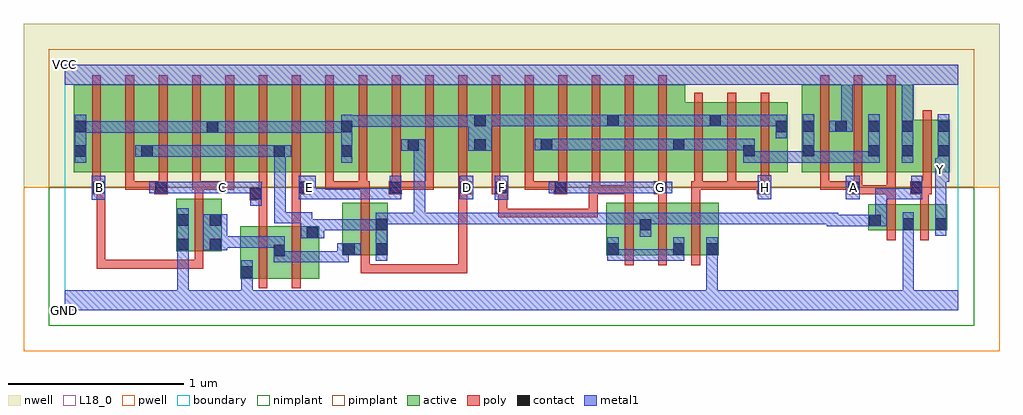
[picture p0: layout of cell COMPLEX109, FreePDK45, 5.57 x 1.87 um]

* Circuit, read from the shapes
.subckt COMPLEX109 A B C D E F G GND H VCC Y
M1 n1 B GND VSUBS nfet w=0.3u l=0.05u
M2 n1 C GND VSUBS nfet w=0.3u l=0.05u
M3 n2 E n1 VSUBS nfet w=0.3u l=0.05u
M4 n2 D n1 VSUBS nfet w=0.3u l=0.05u
M5 n2 F n3 VSUBS nfet w=0.3u l=0.05u
M6 n3 G n2 VSUBS nfet w=0.3u l=0.05u
M7 GND H n3 VSUBS nfet w=0.3u l=0.05u
M8 GND A n2 VSUBS nfet w=0.15u l=0.05u
M9 Y n2 GND VSUBS nfet w=0.15u l=0.05u
M10 n4 B n5 n6 pfet w=0.5u l=0.05u
M11 n2 C n4 n6 pfet w=0.5u l=0.05u
M12 n7 C n2 n6 pfet w=0.5u l=0.05u
M13 n5 B n7 n6 pfet w=0.5u l=0.05u
M14 n8 B n5 n6 pfet w=0.5u l=0.05u
M15 n2 C n8 n6 pfet w=0.5u l=0.05u
M16 n9 E n2 n6 pfet w=0.5u l=0.05u
M17 n5 D n9 n6 pfet w=0.5u l=0.05u
M18 n10 D n5 n6 pfet w=0.5u l=0.05u
M19 n2 E n10 n6 pfet w=0.5u l=0.05u
M20 n11 E n2 n6 pfet w=0.5u l=0.05u
M21 n5 D n11 n6 pfet w=0.5u l=0.05u
M22 n12 F n5 n6 pfet w=0.5u l=0.05u
M23 n13 G n12 n6 pfet w=0.5u l=0.05u
M24 n14 G n13 n6 pfet w=0.5u l=0.05u
M25 n5 F n14 n6 pfet w=0.5u l=0.05u
M26 n15 F n5 n6 pfet w=0.5u l=0.05u
M27 n13 G n15 n6 pfet w=0.5u l=0.05u
M28 n5 H n13 n6 pfet w=0.4u l=0.05u m=3
M29 VCC A n13 n6 pfet w=0.5u l=0.05u m=3
M30 Y n2 VCC n6 pfet w=0.3u l=0.05u
.ends

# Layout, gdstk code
import gdstk
lib = gdstk.Library(unit=1e-6, precision=1e-09)
def R(c, l, rs):  # rectangles x0, y0, x1, y1
    for r in rs: c.add(gdstk.rectangle(r[:2], r[2:], *l))
def A(c, l, x, y, w, h, nx, ny, dx, dy):  # array of equal rectangles
    R(c, l, [(x+i*dx, y+j*dy, x+i*dx+w, y+j*dy+h) for i in range(nx) for j in range(ny)])
active = (1, 0)
pwell = (2, 0)
nwell = (3, 0)
nimplant = (4, 0)
pimplant = (5, 0)
poly = (9, 0)
contact = (10, 0)
metal1 = (11, 0)
L18_0 = (18, 0)
boundary = (235, 0)

complex109 = lib.new_cell('COMPLEX109')
A(complex109, active, 1.417, 0.787, 0.23, 0.5, 5, 1, 0.38, 0)
A(complex109, active, 1.572, 0.787, 0.225, 0.5, 5, 1, 0.38, 0)
A(complex109, active, 1.572, 0.807, 0.075, 0.393, 3, 1, 0.76, 0)
R(complex109, active, [(1.002,0.18,1.077,0.48), (1.002,0.18,1.262,0.48), (1.187,0.18,1.452,0.48), (1.187,0.2,1.262,0.48), (1.585,0.312,1.66,0.612), (1.585,0.312,1.845,0.612), (1.77,0.312,1.845,0.612), (3.092,0.312,3.167,0.612), (3.092,0.312,3.352,0.612), (3.277,0.312,3.542,0.612), (3.467,0.312,3.732,0.612), (3.467,0.312,3.542,0.497), (3.657,0.312,3.732,0.612), (1.377,0.33,1.452,0.48), (3.277,0.33,3.352,0.525), (0.637,0.337,0.712,0.637), (0.637,0.337,0.897,0.637), (0.822,0.337,0.897,0.637), (4.587,0.455,4.852,0.605), (4.777,0.455,5.037,0.605), (4.777,0.455,4.852,0.53), (4.962,0.455,5.037,0.605), (4.587,0.475,4.662,0.605), (0.052,0.787,0.277,1.287), (0.052,0.787,0.157,1.2), (0.277,0.787,0.507,1.287), (0.432,0.787,0.657,1.287), (0.657,0.787,0.882,1.287), (0.807,0.787,1.037,1.287), (1.037,0.787,1.262,1.287), (1.187,0.787,1.417,1.287), (1.952,0.787,2.027,1.07), (3.317,0.787,3.542,1.287), (3.467,0.787,3.542,1.07), (3.467,0.787,3.75,1.187), (3.675,0.787,3.942,1.187), (3.867,0.787,4.127,1.187), (3.867,0.787,3.942,1.07), (4.052,0.787,4.127,1.187), (4.207,0.787,4.467,1.287), (4.207,0.787,4.282,1.2), (4.392,0.787,4.657,1.287), (4.582,0.787,4.847,1.287), (4.772,0.787,4.847,1.087), (4.772,0.787,5.052,1.087), (4.977,0.787,5.052,1.087), (0.432,0.807,0.507,1.07), (0.807,0.807,0.882,1.2), (1.187,0.807,1.262,1.07), (2.712,0.807,2.787,1.07), (4.392,0.807,4.467,1.255), (4.582,0.807,4.657,1.2), (3.675,0.907,3.75,1.187)])
R(complex109, pwell, [(-0.235,-0.235,5.335,0.7)])
R(complex109, nwell, [(-0.235,0.7,5.335,1.635)])
R(complex109, nimplant, [(-0.09,-0.09,5.19,0.7)])
R(complex109, pimplant, [(-0.09,0.7,5.19,1.49)])
A(complex109, poly, 3.197, 0.257, 0.05, 0.41, 3, 1, 0.19, 0)
A(complex109, poly, 0.157, 0.687, 0.05, 0.095, 5, 1, 0.19, 0)
A(complex109, poly, 1.297, 0.687, 0.05, 0.095, 9, 1, 0.19, 0)
A(complex109, poly, 3.592, 0.687, 0.05, 0.095, 3, 1, 0.19, 0)
A(complex109, poly, 0.157, 0.732, 0.05, 0.61, 18, 1, 0.19, 0)
A(complex109, poly, 3.592, 0.732, 0.05, 0.51, 3, 1, 0.19, 0)
A(complex109, poly, 4.312, 0.732, 0.05, 0.61, 3, 1, 0.19, 0)
R(complex109, poly, [(1.107,0.125,1.157,0.535), (1.297,0.125,1.347,0.535), (1.69,0.212,1.74,0.307), (1.69,0.212,1.74,0.262), (1.69,0.212,1.74,0.262), (1.69,0.212,1.74,0.262), (1.69,0.212,1.872,0.262), (1.822,0.212,1.872,0.262), (1.822,0.212,1.872,0.262), (1.822,0.212,1.872,0.262), (1.822,0.212,1.872,0.262), (1.822,0.212,1.872,0.262), (1.822,0.212,1.872,0.262), (1.822,0.212,1.872,0.262), (1.822,0.212,2.057,0.262), (2.007,0.212,2.057,0.262), (2.007,0.212,2.297,0.262), (2.247,0.212,2.297,0.262), (2.247,0.212,2.297,0.262), (2.247,0.212,2.297,0.262), (2.247,0.212,2.297,0.712), (0.182,0.237,0.232,0.287), (0.182,0.237,0.232,0.287), (0.182,0.237,0.232,0.287), (0.182,0.237,0.365,0.287), (0.182,0.237,0.232,0.712), (0.315,0.237,0.365,0.287), (0.315,0.237,0.365,0.287), (0.315,0.237,0.365,0.287), (0.315,0.237,0.587,0.287), (0.537,0.237,0.587,0.287), (0.537,0.237,0.587,0.287), (0.537,0.237,0.587,0.287), (0.537,0.237,0.587,0.287), (0.537,0.237,0.587,0.287), (0.537,0.237,0.587,0.287), (0.537,0.237,0.587,0.287), (0.537,0.237,0.792,0.287), (0.742,0.237,0.792,0.332), (0.742,0.237,0.792,0.287), (1.69,0.257,1.74,0.667), (0.742,0.282,0.792,0.692), (4.692,0.4,4.742,0.66), (4.882,0.4,4.932,0.66), (1.107,0.485,1.157,0.677), (1.297,0.485,1.347,0.712), (2.475,0.53,2.525,0.58), (2.475,0.53,2.525,0.58), (2.475,0.53,2.525,0.58), (2.475,0.53,2.525,0.712), (2.475,0.53,2.677,0.58), (2.627,0.53,2.677,0.58), (2.627,0.53,2.81,0.58), (2.76,0.53,2.81,0.58), (2.76,0.53,2.81,0.58), (2.76,0.53,2.81,0.58), (2.76,0.53,3.042,0.58), (2.992,0.53,3.042,0.58), (2.992,0.53,3.042,0.58), (2.992,0.53,3.042,0.58), (2.992,0.53,3.042,0.58), (2.992,0.53,3.042,0.58), (2.992,0.53,3.042,0.712), (4.692,0.61,4.742,0.712), (4.882,0.61,4.932,0.712), (1.69,0.617,1.74,0.737), (3.197,0.617,3.247,0.712), (3.387,0.617,3.437,0.712), (3.577,0.617,3.627,0.737), (1.055,0.627,1.157,0.702), (0.742,0.642,0.792,0.737), (1.107,0.652,1.157,0.782), (0.157,0.662,0.232,0.737), (0.182,0.662,0.232,0.712), (0.182,0.662,0.232,0.712), (0.512,0.662,0.587,0.737), (1.297,0.662,1.405,0.737), (1.85,0.662,1.925,0.737), (2.247,0.662,2.297,0.712), (2.247,0.662,2.297,0.712), (2.247,0.662,2.322,0.737), (2.437,0.662,2.525,0.737), (2.475,0.662,2.525,0.712), (2.475,0.662,2.525,0.712), (2.792,0.662,2.867,0.737), (2.992,0.662,3.057,0.712), (3.007,0.662,3.057,0.782), (3.007,0.662,3.247,0.712), (3.197,0.662,3.247,0.782), (3.197,0.662,3.247,0.712), (3.197,0.662,3.247,0.712), (3.197,0.662,3.247,0.712), (3.362,0.662,3.437,0.737), (3.95,0.662,4.025,0.737), (4.467,0.662,4.552,0.737), (4.502,0.662,4.742,0.712), (4.692,0.662,4.742,0.782), (4.692,0.662,4.742,0.712), (4.692,0.662,4.742,0.712), (4.692,0.662,4.742,0.712), (4.825,0.662,4.947,0.737), (0.347,0.687,0.397,0.737), (0.347,0.687,0.397,0.737), (0.347,0.687,0.397,0.737), (0.347,0.687,0.562,0.737), (0.727,0.687,0.792,0.737), (0.742,0.687,0.792,0.737), (0.742,0.687,0.792,0.737), (0.742,0.687,0.967,0.737), (0.917,0.687,0.967,0.737), (1.487,0.687,1.537,0.737), (1.487,0.687,1.537,0.737), (1.487,0.687,1.537,0.737), (1.487,0.687,1.727,0.737), (1.677,0.687,1.74,0.737), (1.875,0.687,2.107,0.737), (2.057,0.687,2.107,0.737), (2.057,0.687,2.107,0.737), (2.057,0.687,2.107,0.737), (2.627,0.687,2.677,0.737), (2.627,0.687,2.677,0.737), (2.627,0.687,2.677,0.737), (2.627,0.687,2.842,0.737), (3.387,0.687,3.437,0.782), (3.577,0.687,3.642,0.737), (3.592,0.687,3.642,0.737), (3.592,0.687,3.642,0.737), (3.592,0.687,3.832,0.737), (3.782,0.687,3.832,0.737), (3.782,0.687,4,0.737), (3.95,0.687,4,0.737), (3.95,0.687,4,0.737), (4.312,0.687,4.362,0.782), (4.312,0.687,4.362,0.737), (4.312,0.687,4.362,0.737), (4.312,0.687,4.362,0.737), (4.312,0.687,4.517,0.737), (4.502,0.687,4.552,0.782), (4.897,0.687,4.947,0.782), (4.897,0.732,4.947,1.142)])
A(complex109, contact, 4.397, 1.017, 0.065, 0.065, 3, 1, 0.19, 0)
R(complex109, contact, [(1.007,0.185,1.072,0.25), (1.192,0.307,1.257,0.372), (1.59,0.317,1.655,0.382), (1.775,0.317,1.84,0.382), (3.097,0.317,3.162,0.382), (3.472,0.317,3.537,0.382), (3.662,0.317,3.727,0.382), (0.642,0.342,0.707,0.407), (0.827,0.342,0.892,0.407), (1.382,0.41,1.447,0.475), (3.282,0.455,3.347,0.52), (1.775,0.457,1.84,0.522), (4.782,0.46,4.847,0.525), (4.967,0.46,5.032,0.525), (4.592,0.48,4.657,0.545), (0.642,0.482,0.707,0.547), (0.827,0.482,0.892,0.547), (1.06,0.632,1.125,0.697), (0.162,0.667,0.227,0.732), (0.517,0.667,0.582,0.732), (1.335,0.667,1.4,0.732), (1.855,0.667,1.92,0.732), (2.252,0.667,2.317,0.732), (2.455,0.667,2.52,0.732), (2.797,0.667,2.862,0.732), (3.367,0.667,3.432,0.732), (3.955,0.667,4.02,0.732), (4.472,0.667,4.537,0.732), (4.83,0.667,4.895,0.732), (0.057,0.875,0.122,0.94), (0.437,0.875,0.502,0.94), (1.192,0.875,1.257,0.94), (1.577,0.875,1.642,0.94), (3.872,0.877,3.937,0.942), (4.212,0.877,4.277,0.942), (4.587,0.877,4.652,0.942), (4.777,0.877,4.842,0.942), (4.982,0.877,5.047,0.942), (1.957,0.91,2.022,0.975), (2.337,0.91,2.402,0.975), (2.717,0.912,2.782,0.977), (3.472,0.912,3.537,0.977), (0.812,1.012,0.877,1.077), (0.057,1.015,0.122,1.08), (1.577,1.015,1.642,1.08), (4.057,1.015,4.122,1.08), (4.212,1.017,4.277,1.082), (4.982,1.017,5.047,1.082), (2.337,1.05,2.402,1.115), (3.097,1.05,3.162,1.115), (3.68,1.05,3.745,1.115)])
R(complex109, metal1, [(0,0,5.1,0.115), (0.642,0.05,0.707,0.115), (0.642,0.05,0.707,0.115), (0.642,0.05,0.707,0.115), (0.642,0.05,0.707,0.115), (0.642,0.05,0.707,0.372), (1.007,0.05,1.072,0.115), (1.007,0.05,1.072,0.115), (1.007,0.05,1.072,0.215), (3.662,0.05,3.727,0.115), (3.662,0.05,3.727,0.115), (3.662,0.05,3.727,0.115), (3.662,0.05,3.727,0.115), (3.662,0.05,3.727,0.347), (4.782,0.05,4.847,0.115), (4.782,0.05,4.847,0.115), (4.782,0.05,4.847,0.49), (1.007,0.15,1.072,0.285), (1.007,0.15,1.072,0.215), (1.007,0.15,1.072,0.215), (1.192,0.272,1.257,0.407), (1.192,0.272,1.482,0.337), (1.417,0.272,1.482,0.337), (1.417,0.272,1.482,0.337), (1.417,0.272,1.482,0.337), (1.417,0.272,1.62,0.337), (1.555,0.272,1.62,0.382), (1.775,0.282,1.84,0.557), (3.097,0.282,3.162,0.417), (3.097,0.282,3.197,0.347), (3.132,0.282,3.197,0.347), (3.132,0.282,3.365,0.347), (3.3,0.282,3.365,0.347), (3.3,0.282,3.537,0.347), (3.472,0.282,3.537,0.417), (3.472,0.282,3.537,0.347), (3.472,0.282,3.537,0.347), (3.662,0.282,3.727,0.417), (0.642,0.307,0.707,0.582), (1.555,0.317,1.62,0.382), (1.555,0.317,1.69,0.382), (0.792,0.342,0.927,0.547), (1.192,0.342,1.257,0.407), (1.192,0.342,1.257,0.422), (0.862,0.357,0.927,0.422), (0.862,0.357,0.927,0.422), (0.862,0.357,1.065,0.422), (1,0.357,1.065,0.422), (1,0.357,1.257,0.422), (1.347,0.41,1.482,0.52), (3.282,0.42,3.347,0.555), (4.782,0.425,4.847,0.56), (4.782,0.425,4.847,0.49), (4.782,0.425,4.847,0.49), (4.782,0.425,4.847,0.49), (4.782,0.425,4.847,0.49), (4.967,0.425,5.032,0.56), (1.347,0.455,1.412,0.56), (1.347,0.455,1.412,0.52), (1.417,0.455,1.62,0.52), (1.555,0.455,1.62,0.52), (1.555,0.455,1.62,0.52), (1.555,0.455,1.62,0.52), (1.555,0.455,1.78,0.52), (1.715,0.455,1.78,0.52), (1.715,0.455,1.84,0.52), (4.35,0.48,4.415,0.545), (4.35,0.48,4.415,0.545), (4.35,0.48,4.622,0.545), (4.35,0.48,4.415,0.555), (4.557,0.48,4.692,0.545), (4.627,0.48,4.692,0.697), (1.775,0.49,1.917,0.555), (1.852,0.49,1.917,0.555), (1.852,0.49,2.057,0.555), (1.992,0.49,2.057,0.555), (1.992,0.49,2.057,0.555), (1.992,0.49,2.057,0.555), (1.992,0.49,2.057,0.555), (1.992,0.49,2.057,0.555), (1.992,0.49,2.23,0.555), (1.992,0.49,2.057,0.975), (2.165,0.49,2.23,0.555), (2.165,0.49,2.23,0.555), (2.165,0.49,2.23,0.555), (2.165,0.49,2.472,0.555), (2.407,0.49,2.472,0.555), (2.407,0.49,2.472,0.555), (2.407,0.49,2.472,0.555), (2.407,0.49,2.61,0.555), (2.545,0.49,2.61,0.555), (2.545,0.49,2.61,0.555), (2.545,0.49,2.61,0.555), (2.545,0.49,2.817,0.555), (2.752,0.49,2.817,0.555), (2.752,0.49,2.817,0.555), (2.752,0.49,2.817,0.555), (2.752,0.49,2.955,0.555), (2.89,0.49,2.955,0.555), (2.89,0.49,3.035,0.555), (2.97,0.49,3.035,0.555), (2.97,0.49,3.197,0.555), (3.132,0.49,3.197,0.555), (3.132,0.49,3.197,0.555), (3.132,0.49,3.197,0.555), (3.132,0.49,3.347,0.555), (3.282,0.49,3.347,0.555), (3.282,0.49,3.347,0.555), (3.282,0.49,3.572,0.555), (3.507,0.49,3.572,0.555), (3.507,0.49,3.71,0.555), (3.645,0.49,3.71,0.555), (3.645,0.49,3.71,0.555), (3.645,0.49,3.71,0.555), (3.645,0.49,3.882,0.555), (3.817,0.49,3.882,0.555), (3.817,0.49,3.937,0.555), (3.872,0.49,3.937,0.555), (3.872,0.49,4.075,0.555), (4.01,0.49,4.075,0.555), (4.01,0.49,4.075,0.555), (4.01,0.49,4.075,0.555), (4.01,0.49,4.277,0.555), (4.212,0.49,4.277,0.555), (4.212,0.49,4.277,0.555), (4.212,0.49,4.277,0.555), (4.212,0.49,4.415,0.555), (1.197,0.495,1.262,0.56), (1.197,0.495,1.262,0.56), (1.197,0.495,1.262,0.56), (1.197,0.495,1.412,0.56), (1.197,0.495,1.262,0.94), (4.967,0.495,5.032,0.797), (1.06,0.597,1.125,0.732), (0.155,0.63,0.232,0.767), (2.455,0.63,2.532,0.767), (1.335,0.632,1.432,0.767), (1.367,0.632,1.432,0.697), (1.367,0.632,1.432,0.697), (1.367,0.632,1.62,0.697), (1.555,0.632,1.62,0.697), (1.555,0.632,1.62,0.697), (1.555,0.632,1.62,0.697), (1.555,0.632,1.78,0.697), (1.715,0.632,1.78,0.697), (1.715,0.632,1.78,0.697), (1.715,0.632,1.78,0.697), (1.715,0.632,1.92,0.697), (1.855,0.632,1.92,0.767), (2.252,0.632,2.332,0.767), (3.955,0.632,4.032,0.77), (4.457,0.632,4.537,0.767), (4.627,0.632,4.692,0.697), (4.627,0.632,4.692,0.697), (4.627,0.632,4.692,0.697), (4.627,0.632,4.895,0.697), (4.83,0.632,4.895,0.767), (4.83,0.632,4.895,0.697), (4.83,0.632,4.895,0.697), (0.482,0.667,0.617,0.732), (0.552,0.667,0.705,0.732), (0.64,0.667,0.705,0.732), (0.64,0.667,0.755,0.732), (0.69,0.667,0.755,0.732), (0.69,0.667,0.897,0.732), (0.832,0.667,0.897,0.732), (0.832,0.667,0.897,0.732), (0.832,0.667,0.967,0.732), (0.902,0.667,1.065,0.732), (1,0.667,1.065,0.732), (1,0.667,1.125,0.732), (2.762,0.667,2.897,0.732), (2.832,0.667,2.955,0.732), (2.89,0.667,2.955,0.732), (2.89,0.667,3.06,0.732), (2.995,0.667,3.06,0.732), (2.995,0.667,3.197,0.732), (3.132,0.667,3.197,0.732), (3.132,0.667,3.197,0.732), (3.132,0.667,3.197,0.732), (3.132,0.667,3.365,0.732), (3.3,0.667,3.365,0.732), (3.3,0.667,3.397,0.732), (3.332,0.667,3.467,0.732), (4.967,0.732,5.047,0.867), (4.982,0.802,5.047,0.907), (0.057,0.84,0.122,1.115), (1.577,0.84,1.642,1.115), (3.872,0.842,3.937,0.977), (3.872,0.842,4.075,0.907), (4.01,0.842,4.075,0.907), (4.01,0.842,4.075,0.907), (4.01,0.842,4.075,0.907), (4.01,0.842,4.277,0.907), (4.212,0.842,4.277,1.117), (4.212,0.842,4.277,0.907), (4.212,0.842,4.277,0.907), (4.212,0.842,4.485,0.907), (4.42,0.842,4.485,0.907), (4.42,0.842,4.485,0.907), (4.42,0.842,4.485,0.907), (4.42,0.842,4.652,0.907), (4.587,0.842,4.652,1.117), (4.777,0.842,4.842,1.117), (4.982,0.842,5.047,1.117), (0.402,0.875,0.537,0.94), (0.472,0.875,0.537,0.94), (0.472,0.875,0.537,0.94), (0.472,0.875,0.675,0.94), (0.61,0.875,0.675,0.94), (0.61,0.875,0.755,0.94), (0.69,0.875,0.755,0.94), (0.69,0.875,0.927,0.94), (0.862,0.875,0.927,0.94), (0.862,0.875,0.927,0.94), (0.862,0.875,0.927,0.94), (0.862,0.875,1.085,0.94), (1.02,0.875,1.085,0.94), (1.02,0.875,1.222,0.94), (1.157,0.875,1.222,0.94), (1.157,0.875,1.222,0.94), (1.157,0.875,1.292,0.94), (1.922,0.91,2.057,0.975), (2.302,0.91,2.437,1.115), (2.682,0.912,2.817,0.977), (2.752,0.912,2.817,0.977), (2.752,0.912,2.817,0.977), (2.752,0.912,2.955,0.977), (2.89,0.912,2.955,0.977), (2.89,0.912,3.06,0.977), (2.995,0.912,3.06,0.977), (2.995,0.912,3.197,0.977), (3.132,0.912,3.197,0.977), (3.132,0.912,3.197,0.977), (3.132,0.912,3.197,0.977), (3.132,0.912,3.335,0.977), (3.27,0.912,3.335,0.977), (3.27,0.912,3.502,0.977), (3.437,0.912,3.502,0.977), (3.437,0.912,3.502,0.977), (3.437,0.912,3.572,0.977), (3.507,0.912,3.71,0.977), (3.645,0.912,3.71,0.977), (3.645,0.912,3.71,0.977), (3.645,0.912,3.71,0.977), (3.645,0.912,3.882,0.977), (3.817,0.912,3.882,0.977), (3.817,0.912,3.937,0.977), (4.057,0.98,4.122,1.115), (0.057,1.012,0.122,1.077), (0.057,1.012,0.122,1.077), (0.057,1.012,0.26,1.077), (0.195,1.012,0.26,1.077), (0.195,1.012,0.26,1.077), (0.195,1.012,0.26,1.077), (0.195,1.012,0.397,1.077), (0.332,1.012,0.397,1.077), (0.332,1.012,0.397,1.077), (0.332,1.012,0.397,1.077), (0.332,1.012,0.705,1.077), (0.64,1.012,0.705,1.077), (0.64,1.012,0.755,1.077), (0.69,1.012,0.755,1.077), (0.69,1.012,0.842,1.077), (0.777,1.012,0.912,1.077), (0.847,1.012,0.912,1.077), (0.847,1.012,0.912,1.077), (0.847,1.012,1.085,1.077), (1.02,1.012,1.085,1.077), (1.02,1.012,1.262,1.077), (1.197,1.012,1.262,1.077), (1.197,1.012,1.262,1.077), (1.197,1.012,1.262,1.077), (1.197,1.012,1.4,1.077), (1.335,1.012,1.4,1.077), (1.335,1.012,1.4,1.077), (1.335,1.012,1.4,1.077), (1.335,1.012,1.642,1.077), (1.577,1.012,1.642,1.077), (1.577,1.012,1.642,1.077), (4.362,1.017,4.497,1.082), (4.432,1.017,4.497,1.35), (1.577,1.047,1.78,1.112), (1.715,1.047,1.78,1.112), (1.715,1.047,1.78,1.112), (1.715,1.047,1.78,1.112), (1.715,1.047,1.917,1.112), (1.852,1.047,1.917,1.112), (1.852,1.047,2.057,1.112), (1.992,1.047,2.057,1.112), (1.992,1.047,2.057,1.112), (1.992,1.047,2.057,1.112), (1.992,1.047,2.23,1.112), (2.165,1.047,2.23,1.112), (2.165,1.047,2.23,1.112), (2.165,1.047,2.23,1.112), (2.165,1.047,2.367,1.112), (2.372,1.05,2.437,1.115), (2.372,1.05,2.437,1.115), (2.372,1.05,2.61,1.115), (2.545,1.05,2.61,1.115), (2.545,1.05,2.61,1.115), (2.545,1.05,2.61,1.115), (2.545,1.05,2.747,1.115), (2.682,1.05,2.747,1.115), (2.682,1.05,2.747,1.115), (2.682,1.05,2.747,1.115), (2.682,1.05,2.99,1.115), (2.925,1.05,2.99,1.115), (2.925,1.05,3.06,1.115), (2.995,1.05,3.06,1.115), (2.995,1.05,3.127,1.115), (3.062,1.05,3.197,1.115), (3.132,1.05,3.197,1.115), (3.132,1.05,3.197,1.115), (3.132,1.05,3.335,1.115), (3.27,1.05,3.335,1.115), (3.27,1.05,3.335,1.115), (3.27,1.05,3.335,1.115), (3.27,1.05,3.572,1.115), (3.507,1.05,3.572,1.115), (3.507,1.05,3.71,1.115), (3.645,1.05,3.71,1.115), (3.645,1.05,3.71,1.115), (3.645,1.05,3.78,1.115), (3.715,1.05,3.847,1.115), (3.782,1.05,3.847,1.115), (3.782,1.05,3.937,1.115), (3.872,1.05,3.937,1.115), (3.872,1.05,4.02,1.115), (3.955,1.05,4.02,1.115), (3.955,1.05,4.122,1.115), (4.777,1.052,4.842,1.35), (0,1.285,5.1,1.4)])
R(complex109, L18_0, [(0,0,5.1,0.115), (0.642,0.05,0.707,0.115), (0.642,0.05,0.707,0.115), (0.642,0.05,0.707,0.115), (0.642,0.05,0.707,0.115), (0.642,0.05,0.707,0.372), (1.007,0.05,1.072,0.115), (1.007,0.05,1.072,0.115), (1.007,0.05,1.072,0.215), (3.662,0.05,3.727,0.115), (3.662,0.05,3.727,0.115), (3.662,0.05,3.727,0.115), (3.662,0.05,3.727,0.115), (3.662,0.05,3.727,0.347), (4.782,0.05,4.847,0.115), (4.782,0.05,4.847,0.115), (4.782,0.05,4.847,0.49), (1.007,0.15,1.072,0.215), (1.007,0.15,1.072,0.215), (1.007,0.15,1.072,0.285), (3.662,0.282,3.727,0.417), (0.642,0.307,0.707,0.582), (4.782,0.425,4.847,0.49), (4.782,0.425,4.847,0.49), (4.782,0.425,4.847,0.49), (4.782,0.425,4.847,0.49), (4.782,0.425,4.847,0.56), (4.967,0.425,5.032,0.56), (4.967,0.495,5.032,0.797), (1.06,0.597,1.125,0.732), (0.155,0.63,0.232,0.767), (2.455,0.63,2.532,0.767), (1.335,0.632,1.432,0.767), (1.367,0.632,1.432,0.697), (1.367,0.632,1.432,0.697), (1.367,0.632,1.62,0.697), (1.555,0.632,1.62,0.697), (1.555,0.632,1.62,0.697), (1.555,0.632,1.62,0.697), (1.555,0.632,1.78,0.697), (1.715,0.632,1.78,0.697), (1.715,0.632,1.78,0.697), (1.715,0.632,1.78,0.697), (1.715,0.632,1.92,0.697), (1.855,0.632,1.92,0.767), (2.252,0.632,2.332,0.767), (3.955,0.632,4.032,0.77), (4.457,0.632,4.537,0.767), (0.167,0.667,0.232,0.732), (0.482,0.667,0.617,0.732), (0.552,0.667,0.705,0.732), (0.64,0.667,0.705,0.732), (0.64,0.667,0.755,0.732), (0.69,0.667,0.755,0.732), (0.69,0.667,0.897,0.732), (0.832,0.667,0.967,0.732), (0.832,0.667,0.897,0.732), (0.832,0.667,0.897,0.732), (0.867,0.667,0.932,0.732), (0.902,0.667,1.065,0.732), (1,0.667,1.065,0.732), (1,0.667,1.125,0.732), (1.367,0.667,1.432,0.732), (2.267,0.667,2.332,0.732), (2.467,0.667,2.532,0.732), (2.762,0.667,2.897,0.732), (2.832,0.667,2.955,0.732), (2.89,0.667,2.955,0.732), (2.89,0.667,3.06,0.732), (2.995,0.667,3.06,0.732), (2.995,0.667,3.197,0.732), (3.132,0.667,3.197,0.732), (3.132,0.667,3.197,0.732), (3.132,0.667,3.197,0.732), (3.132,0.667,3.365,0.732), (3.3,0.667,3.365,0.732), (3.3,0.667,3.397,0.732), (3.332,0.667,3.467,0.732), (3.367,0.667,3.432,0.732), (3.967,0.667,4.032,0.732), (4.467,0.667,4.532,0.732), (4.967,0.732,5.047,0.867), (4.967,0.767,5.032,0.832), (4.982,0.802,5.047,0.907), (4.777,0.842,4.842,1.117), (4.982,0.842,5.047,1.117), (4.362,1.017,4.497,1.082), (4.432,1.017,4.497,1.35), (4.777,1.052,4.842,1.35), (0,1.285,5.1,1.4)])
R(complex109, boundary, [(0,0,5.1,1.4)])
complex109.add(gdstk.Label('A', (4.5,0.7), layer=11, texttype=0))
complex109.add(gdstk.Label('B', (0.2,0.7), layer=11, texttype=0))
complex109.add(gdstk.Label('C', (0.9,0.7), layer=11, texttype=0))
complex109.add(gdstk.Label('D', (2.3,0.7), layer=11, texttype=0))
complex109.add(gdstk.Label('E', (1.4,0.7), layer=11, texttype=0))
complex109.add(gdstk.Label('F', (2.5,0.7), layer=11, texttype=0))
complex109.add(gdstk.Label('G', (3.4,0.7), layer=11, texttype=0))
complex109.add(gdstk.Label('H', (4,0.7), layer=11, texttype=0))
complex109.add(gdstk.Label('Y', (5,0.8), layer=11, texttype=0))
complex109.add(gdstk.Label('VCC', (0,1.4), layer=11, texttype=0))
complex109.add(gdstk.Label('GND', (0,0), layer=11, texttype=0))

lib.write_gds('COMPLEX109.gds')
